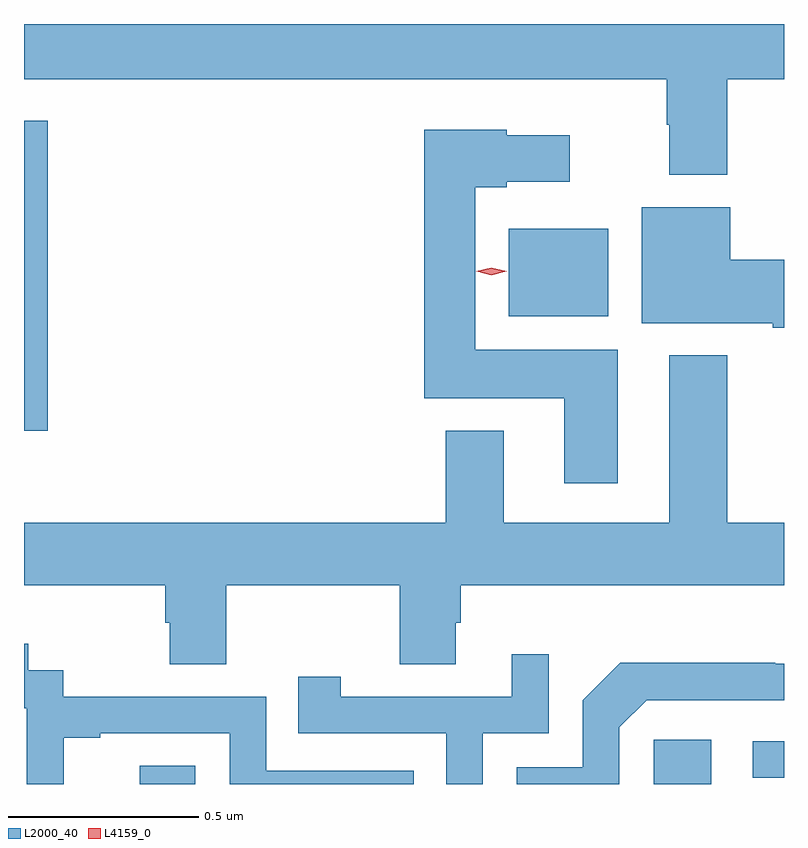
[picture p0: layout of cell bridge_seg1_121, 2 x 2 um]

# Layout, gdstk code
import gdstk
lib = gdstk.Library(unit=1e-6, precision=1e-09)
def R(c, l, rs):  # rectangles x0, y0, x1, y1
    for r in rs: c.add(gdstk.rectangle(r[:2], r[2:], *l))
def P(c, l, *ps):  # polygons
    for p in ps: c.add(gdstk.Polygon(p, *l))
L2000_40 = (2000, 40)
L4159_0 = (4159, 0)

bridge_seg1_121 = lib.new_cell('bridge_seg1_121')
R(bridge_seg1_121, L2000_40, [(240.303,532.561,240.45,532.609), (241.656,532.561,241.807,532.678), (241.917,532.578,241.999,532.674), (239.999,533.49,240.062,534.307), (241.274,533.792,241.537,534.022)])
P(bridge_seg1_121, L2000_40, [(241.85,534.416),(241.999,534.416),(241.999,534.561),(239.999,534.561),(239.999,534.416),(241.69,534.416),(241.69,534.296),(241.697,534.296),(241.697,534.164),(241.85,534.164)],
  [(241.561,533.704),(241.186,533.704),(241.186,534.131),(241.269,534.131),(241.269,534.146),(241.435,534.146),(241.435,534.268),(241.269,534.268),(241.269,534.283),(241.052,534.283),(241.052,533.576),(241.421,533.576),(241.421,533.352),(241.561,533.352)],
  [(241.999,533.94),(241.858,533.94),(241.858,534.079),(241.625,534.079),(241.625,533.774),(241.97,533.774),(241.97,533.762),(241.999,533.762)],
  [(240.531,533.084),(240.988,533.084),(240.988,532.876),(241.135,532.876),(241.135,532.986),(241.148,532.986),(241.148,533.084),(241.999,533.084),(241.999,533.248),(241.85,533.248),(241.85,533.689),(241.697,533.689),(241.697,533.248),(241.261,533.248),(241.261,533.491),(241.109,533.491),(241.109,533.248),(239.999,533.248),(239.999,533.084),(240.371,533.084),(240.371,532.986),(240.383,532.986),(240.383,532.876),(240.531,532.876)],
  [(240.104,532.683),(240.199,532.683),(240.199,532.695),(240.54,532.695),(240.54,532.561),(241.025,532.561),(241.025,532.596),(240.636,532.596),(240.636,532.791),(240.102,532.791),(240.102,532.86),(240.01,532.86),(240.01,532.93),(239.999,532.93),(239.999,532.761),(240.006,532.761),(240.006,532.561),(240.104,532.561)],
  [(241.206,532.695),(241.38,532.695),(241.38,532.903),(241.283,532.903),(241.283,532.791),(240.832,532.791),(240.832,532.843),(240.721,532.843),(240.721,532.695),(241.11,532.695),(241.11,532.561),(241.206,532.561)],
  [(241.566,532.71),(241.638,532.782),(241.999,532.782),(241.999,532.878),(241.976,532.878),(241.976,532.88),(241.568,532.88),(241.47,532.782),(241.47,532.605),(241.296,532.605),(241.296,532.561),(241.566,532.561)])
P(bridge_seg1_121, L4159_0, [(241.229,533.9),(241.189,533.91),(241.189,533.91),(241.189,533.91),(241.229,533.92),(241.27,533.91),(241.27,533.91),(241.27,533.91)])

lib.write_gds('bridge_seg1_121.gds')
